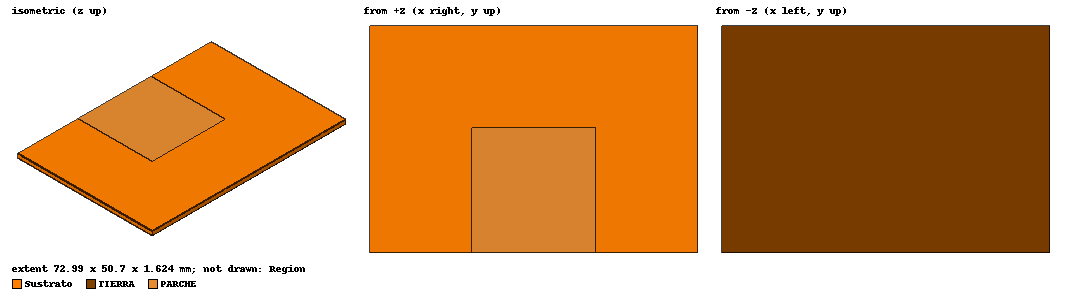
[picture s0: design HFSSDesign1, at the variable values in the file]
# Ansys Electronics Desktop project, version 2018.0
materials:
  vacuum: permittivity=1
  FR4_epoxy: permittivity=4.4 dielectric_loss_tangent=0.02
  copper: permeability=0.999991 conductivity=58000000
  air: permittivity=1.0006 permeability=1.0000004

design HFSSDesign1 (HFSS, DrivenModal, model units mm)
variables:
  lanbda = 90.9mm
  W = 27.54mm
  L = 20.645mm
  WL = 27.54mm
  LL = 12.49mm
  h = 1.524mm
  t = 0.05mm
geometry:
  Sustrato [FR4_epoxy] = box(corner=(0mm, 0mm, t), size=((lanbda/2)+W, LL-(L/4)+L+(lanbda/4), h))
  TIERRA [copper] = box(corner=(0mm, 0mm, 0mm), size=((lanbda/2)+W, LL-(L/4)+L+(lanbda/4), t))
  PARCHE [copper] = box(corner=(lanbda/4, LL-(L/4), (t+h)), size=(W, L, t))
  LINEA = box(corner=((lanbda/4)+(W/2)-(WL/2), 0mm, (h+t)), size=(WL, LL, t))
  CORTE = box(corner=(lanbda/4+W/2-WL, LL-L/4, t+h), size=(2*WL, L/4, t))
  PARCHE.subtract(CORTE)
  PARCHE.unite(LINEA)
  PUERTO = rectangle(corner=((lanbda/4)+(W/2)-(WL/2), 0mm, t), z_size=h, x_size=WL)
  Region [air] = region(absolute_offset=lanbda/4 on all sides)
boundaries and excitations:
  Rad1: Radiation Objects=Region
  1: Lumped Port Objects=PUERTO Modes{Mode1{IntLine{middle of PUERTO.edge(z at corner) -> middle of PUERTO.edge(z opposite corner)} CharImp=Zpi RenormImp=50ohm}} Impedance=50ohm
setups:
  Setup1: HfssDriven Frequency=3.3GHz MaxDeltaS=0.02 MaximumPasses=6 MinimumPasses=1 MinimumConvergedPasses=1 PercentRefinement=30 BasisOrder=1 PortAccuracy=2
    sweep Sweep3: 0.9GHz to 5GHz step 0.3GHz; Type=Interpolating InterpTolerance=0.5 InterpMaxSolns=250 InterpUsePortImped=false PassivityErrorTolerance=0.0001
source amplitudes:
  1:1: 1W 0deg
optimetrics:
  ParametricSetup1: Parametric Sim._Setups=[Setup1]
    sweep L: LIN 10.645mm 31.935mm 0.5mm
    calculate dB(S(1,1)) on Setup1 : Sweep3 at Freq 3.3GHz
  ParametricSetup2: Parametric Sim._Setups=[Setup1]
    sweep W: LIN 17.77mm 37.31mm 0.5mm
    calculate dB(S(1,1)) on Setup1 : Sweep3 at Freq 3.3GHz
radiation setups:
  Infinite Sphere1: Infinite Sphere Theta=-180deg..180deg step 2deg Phi=-180deg..180deg step 2deg
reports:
  S Parameter Plot 1: dB(S(1,1)) vs Freq on Setup1 : Sweep3; markers MX1 at x=3.0018051e+09
  Z Parameter Plot 1: re(Z(1,1)), im(Z(1,1)) vs Freq on Setup1 : Sweep3; markers MX1 at x=3.2998753e+09
  VSWR Plot 1: VSWR(1) vs Freq on Setup1 : Sweep3; markers MX1 at x=2.4087546e+09
  S Parameter Plot 2: dB(S(1,1)) vs Freq on Setup1 : Sweep3 [W=all L=all LL=all]; markers MX1 at x=3.3025275e+09
  S Parameter Plot 3: dB(S(1,1)) vs Freq on Setup1 : Sweep3 [W=all L=all LL=all]; markers MX1 at x=3.3004315e+09
